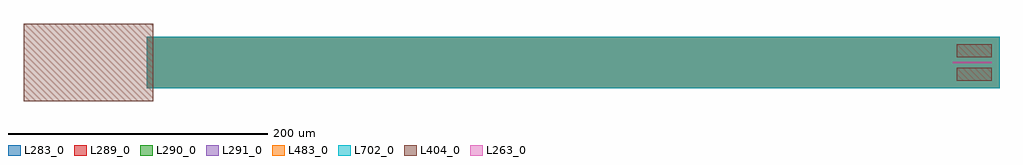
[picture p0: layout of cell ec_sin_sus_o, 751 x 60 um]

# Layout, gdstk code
import gdstk
lib = gdstk.Library(unit=1e-6, precision=1e-09)
def R(c, l, rs):  # rectangles x0, y0, x1, y1
    for r in rs: c.add(gdstk.rectangle(r[:2], r[2:], *l))
L263_0 = (263, 0)
L283_0 = (283, 0)
L289_0 = (289, 0)
L290_0 = (290, 0)
L291_0 = (291, 0)
L404_0 = (404, 0)
L483_0 = (483, 0)
L702_0 = (702, 0)

ec_sin_sus_o = lib.new_cell('ec_sin_sus_o')
R(ec_sin_sus_o, L263_0, [(715,10.717,745,11.717)])
R(ec_sin_sus_o, L283_0, [(95,-8.783,751,31.217)])
R(ec_sin_sus_o, L289_0, [(95,-8.783,751,31.217)])
R(ec_sin_sus_o, L290_0, [(95,-8.783,751,31.217)])
R(ec_sin_sus_o, L291_0, [(95,-8.783,751,31.217)])
R(ec_sin_sus_o, L404_0, [(0,-18.783,100,41.217), (718,-2.783,745,7.217), (718,15.217,745,25.217)])
R(ec_sin_sus_o, L483_0, [(95,-8.783,751,31.217)])
R(ec_sin_sus_o, L702_0, [(95,-8.783,751,31.217)])

lib.write_gds('ec_sin_sus_o.gds')
